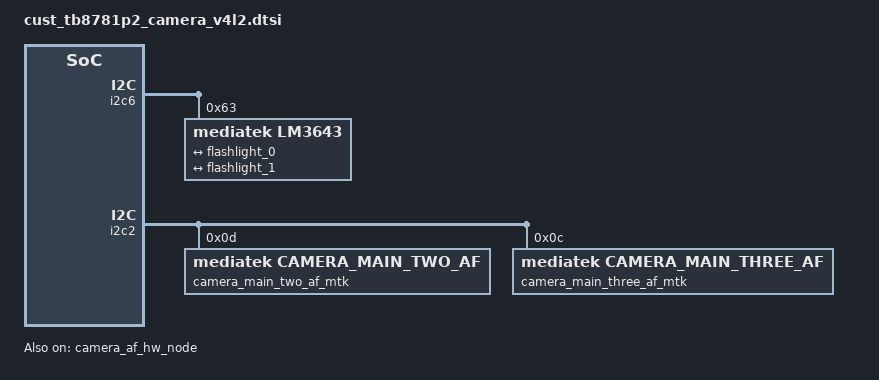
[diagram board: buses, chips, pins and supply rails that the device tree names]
// SPDX-License-Identifier: GPL-2.0
/* Copyright (c) 2020 MediaTek Inc. */

&i2c6 {
	lm3643:lm3643@63 {
		compatible = "mediatek,lm3643";
		reg = <0x63>;
		#cooling-cells = <2>;
		pinctrl-names = "default", "hwen_high", "hwen_low";
		pinctrl-0 = <&lm3643_pins_default>;
		pinctrl-1 = <&lm3643_pins_hwen_high>;
		pinctrl-2 = <&lm3643_pins_hwen_low>;
		status = "okay";
		flash@0{
			reg = <0>;
			type = <0>;
			ct = <0>;
			part = <0>;
			port@0 {
				fl_core_0: endpoint {
					remote-endpoint = <&flashlight_0>;
				};
			};
		};
		flash@1{
			reg = <1>;
			type = <0>;
			ct = <1>;
			part = <0>;
			port@1 {
				fl_core_1: endpoint {
					remote-endpoint = <&flashlight_1>;
				};
			};
		};
	};
};

&pio {
	lm3643_pins_default: default {
	};

	lm3643_pins_hwen_high: hwen_high {
		pins_cmd_dat {
			pinmux = <PINMUX_GPIO157__FUNC_GPIO157>;
			slew-rate = <1>;
			output-high;
		};
	};

	lm3643_pins_hwen_low: hwen_low {
		pins_cmd_dat {
			pinmux = <PINMUX_GPIO157__FUNC_GPIO157>;
			slew-rate = <1>;
			output-low;
		};
	};
};

&mtk_composite_v4l2_1 {
	port@0 {
		flashlight_0: endpoint {
			remote-endpoint = <&fl_core_0>;
		};
	};
	port@1 {
		flashlight_1: endpoint {
			remote-endpoint = <&fl_core_1>;
		};
	};
};


&i2c2 {
	camera_main_two_af_mtk:camera_main_two_af@0d {
		compatible = "mediatek,camera_main_two_af";
		reg = <0x0d>;
		status = "okay";
	};

	camera_main_three_af_mtk:camera_main_three_af@0c {
		compatible = "mediatek,camera_main_three_af";
		reg = <0x0c>;
		status = "okay";
	};
};

&camera_af_hw_node {
	camaf_m1_pmic-supply = <&rt5133_ldo3>;
	camaf_m2_pmic-supply = <&rt5133_gpio1>;
	camaf_m3_pmic-supply = <&rt5133_gpio1>;
	status = "okay";
};
/* CAMERA AF end */
